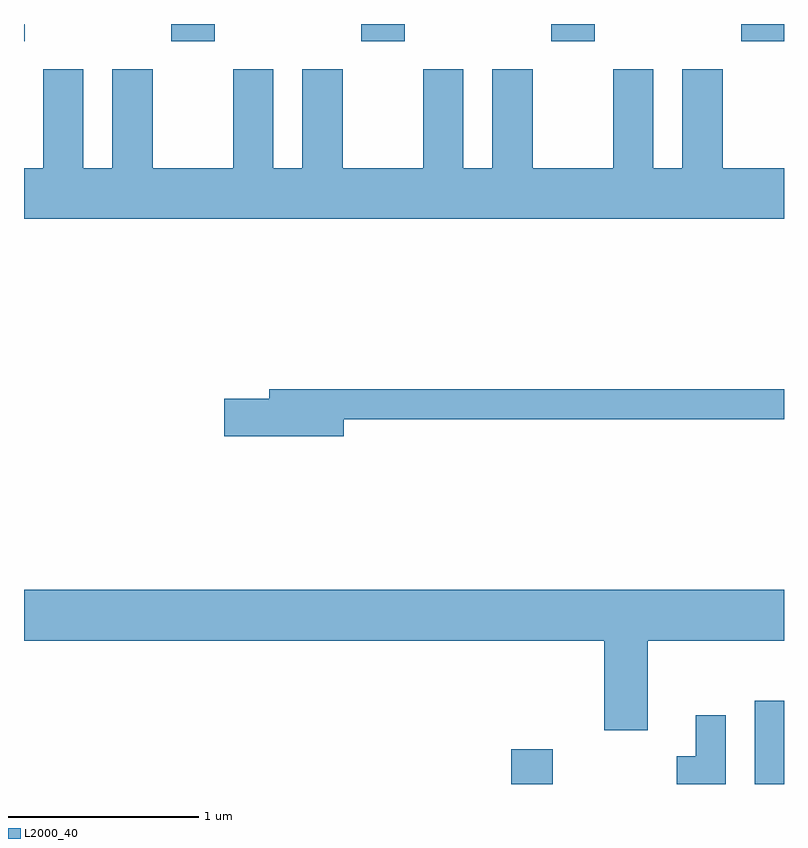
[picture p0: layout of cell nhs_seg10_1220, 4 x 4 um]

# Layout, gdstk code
import gdstk
lib = gdstk.Library(unit=1e-6, precision=1e-09)
def R(c, l, rs):  # rectangles x0, y0, x1, y1
    for r in rs: c.add(gdstk.rectangle(r[:2], r[2:], *l))
def A(c, l, x, y, w, h, nx, ny, dx, dy):  # array of equal rectangles
    R(c, l, [(x+i*dx, y+j*dy, x+i*dx+w, y+j*dy+h) for i in range(nx) for j in range(ny)])
def P(c, l, *ps):  # polygons
    for p in ps: c.add(gdstk.Polygon(p, *l))
L2000_40 = (2000, 40)

nhs_seg10_1220 = lib.new_cell('nhs_seg10_1220')
A(nhs_seg10_1220, L2000_40, 222.386, 2090.431, 0.228, 0.091, 3, 1, 1, 0)
R(nhs_seg10_1220, L2000_40, [(224.176,2086.522,224.394,2086.704), (225.456,2086.522,225.611,2086.959), (221.611,2090.431,221.614,2090.522), (225.386,2090.431,225.611,2090.522)])
P(nhs_seg10_1220, L2000_40, [(225.611,2089.764),(225.289,2089.764),(225.289,2090.284),(225.076,2090.284),(225.076,2089.764),(224.924,2089.764),(224.924,2090.284),(224.711,2090.284),(224.711,2089.764),(224.289,2089.764),(224.289,2090.284),(224.076,2090.284),(224.076,2089.764),(223.924,2089.764),(223.924,2090.284),(223.711,2090.284),(223.711,2089.764),(223.289,2089.764),(223.289,2090.284),(223.076,2090.284),(223.076,2089.764),(222.924,2089.764),(222.924,2090.284),(222.711,2090.284),(222.711,2089.764),(222.289,2089.764),(222.289,2090.284),(222.076,2090.284),(222.076,2089.764),(221.924,2089.764),(221.924,2090.284),(221.711,2090.284),(221.711,2089.764),(221.611,2089.764),(221.611,2089.496),(225.611,2089.496)],
  [(223.294,2088.441),(225.611,2088.441),(225.611,2088.599),(222.901,2088.599),(222.901,2088.549),(222.666,2088.549),(222.666,2088.351),(223.294,2088.351)],
  [(224.894,2087.276),(225.611,2087.276),(225.611,2087.544),(221.611,2087.544),(221.611,2087.276),(224.666,2087.276),(224.666,2086.806),(224.894,2086.806)],
  [(225.304,2086.883),(225.146,2086.883),(225.146,2086.669),(225.046,2086.669),(225.046,2086.522),(225.304,2086.522)])

lib.write_gds('nhs_seg10_1220.gds')
